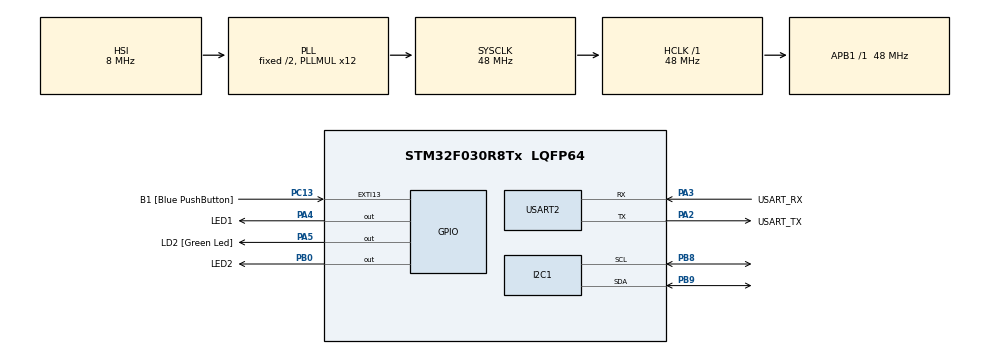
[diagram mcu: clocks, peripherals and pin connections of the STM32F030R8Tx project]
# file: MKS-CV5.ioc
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Dma.Request0=USART2_RX
Dma.USART2_RX.0.Direction=DMA_PERIPH_TO_MEMORY
Dma.USART2_RX.0.Instance=DMA1_Channel5
Dma.USART2_RX.0.MemDataAlignment=DMA_MDATAALIGN_BYTE
Dma.USART2_RX.0.MemInc=DMA_MINC_ENABLE
Dma.USART2_RX.0.Mode=DMA_CIRCULAR
Dma.USART2_RX.0.PeriphDataAlignment=DMA_PDATAALIGN_BYTE
Dma.USART2_RX.0.PeriphInc=DMA_PINC_DISABLE
Dma.USART2_RX.0.Priority=DMA_PRIORITY_LOW
Mcu.Family=STM32F0
Mcu.Name=STM32F030R8Tx
Mcu.Package=LQFP64
NVIC.DMA1_Channel4_5_IRQn=true\:0\:0\:false\:false\:true\:false\:true\:true
PA13.GPIO_Label=TMS
PA13.Mode=Serial_Wire
PA13.Signal=SYS_SWDIO
PA14.GPIO_Label=TCK
PA14.Mode=Serial_Wire
PA14.Signal=SYS_SWCLK
PA2.GPIO_Label=USART_TX
PA2.GPIO_Mode=GPIO_MODE_AF_PP
PA2.GPIO_PuPd=GPIO_NOPULL
PA2.GPIO_Speed=GPIO_SPEED_FREQ_LOW
PA2.Mode=Asynchronous
PA2.Signal=USART2_TX
PA3.GPIO_Label=USART_RX
PA3.GPIO_Mode=GPIO_MODE_AF_PP
PA3.GPIO_PuPd=GPIO_NOPULL
PA3.GPIO_Speed=GPIO_SPEED_FREQ_LOW
PA3.Mode=Asynchronous
PA3.Signal=USART2_RX
PA4.GPIO_Label=LED1
PA4.Signal=GPIO_Output
PA5.GPIO_Label=LD2 [Green Led]
PA5.GPIO_Mode=GPIO_MODE_OUTPUT_PP
PA5.GPIO_PuPd=GPIO_NOPULL
PA5.GPIO_Speed=GPIO_SPEED_FREQ_LOW
PA5.Signal=GPIO_Output
PB0.GPIO_Label=LED2
PB0.Signal=GPIO_Output
PB8.Mode=I2C
PB8.Signal=I2C1_SCL
PB9.Mode=I2C
PB9.Signal=I2C1_SDA
PC13.GPIO_Label=B1 [Blue PushButton]
PC13.GPIO_ModeDefaultEXTI=GPIO_MODE_IT_FALLING
PC13.Signal=GPXTI13
PC14-OSC32_IN.Mode=LSE-External-Oscillator
PC14-OSC32_IN.Signal=RCC_OSC32_IN
PC15-OSC32_OUT.Mode=LSE-External-Oscillator
PC15-OSC32_OUT.Signal=RCC_OSC32_OUT
PF0-OSC_IN.Mode=HSE-External-Clock-Source
PF0-OSC_IN.Signal=RCC_OSC_IN
PF1-OSC_OUT.Signal=RCC_OSC_OUT
ProjectManager.HeapSize=0x200
ProjectManager.StackSize=0x400
ProjectManager.TargetToolchain=STM32CubeIDE
RCC.AHBFreq_Value=48000000
RCC.APB1Freq_Value=48000000
RCC.APB1TimFreq_Value=48000000
RCC.HCLKFreq_Value=48000000
RCC.PLLMUL=RCC_PLL_MUL12
RCC.SYSCLKFreq_VALUE=48000000
RCC.SYSCLKSource=RCC_SYSCLKSOURCE_PLLCLK
USART2.VirtualMode-Asynchronous=VM_ASYNC
board=NUCLEO-F030R8

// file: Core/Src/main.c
/* USER CODE BEGIN Header */
/**
  ******************************************************************************
  * @file           : main.c
  * @brief          : Main program body
  ******************************************************************************
  * @attention
  *
  * Copyright (c) 2023 STMicroelectronics.
  * All rights reserved.
  *
  * This software is licensed under terms that can be found in the LICENSE file
  * in the root directory of this software component.
  * If no LICENSE file comes with this software, it is provided AS-IS.
  *
  ******************************************************************************
  */
/* USER CODE END Header */
#include "main.h"

/* USER CODE BEGIN Includes */
#include <stdio.h>
#include <string.h>
#include <stdlib.h>

/* USER CODE END Includes */

/* USER CODE BEGIN PD */
#define RX_BUFFER_LEN 64
static uint8_t uart_rx_buf[RX_BUFFER_LEN];
static volatile uint16_t uart_rx_read_ptr = 0;
#define uart_rx_write_ptr (RX_BUFFER_LEN - hdma_usart2_rx.Instance->CNDTR)
#define CMD_BUFFER_LEN 256
#define EEPROM_ADDR 0xA0

/* USER CODE END PD */

I2C_HandleTypeDef hi2c1;

UART_HandleTypeDef huart2;
DMA_HandleTypeDef hdma_usart2_rx;

void SystemClock_Config(void);
static void MX_GPIO_Init(void);
static void MX_DMA_Init(void);
static void MX_USART2_UART_Init(void);
static void MX_I2C1_Init(void);

/* USER CODE BEGIN 0 */

void save_eeprom(uint32_t addr, uint8_t value)
{
	addr = addr | 0x0000;
	HAL_I2C_Mem_Write(&hi2c1, EEPROM_ADDR, addr, I2C_MEMADD_SIZE_16BIT, &value, 1, 1000);
	while (HAL_I2C_IsDeviceReady(&hi2c1, EEPROM_ADDR, 300, 1000) == HAL_TIMEOUT)
	{
	}

}

uint32_t read_eeprom(uint32_t addr)
{
	uint8_t value;
	addr = addr | 0x0000;
	HAL_I2C_Mem_Read(&hi2c1, EEPROM_ADDR, addr, I2C_MEMADD_SIZE_16BIT, &value, 1, 1000);
	return value;
}

void uart_process_command(char cmd[])
{
	//printf("prijato: '%s'\n", cmd);
	char *token;
	token = strtok(cmd, " ");
	if (strcasecmp(token, "HELLO") == 0)
	{
		printf("Hello User\n");
	}
	else if (strcasecmp(token, "LED1") == 0)
	{
		token = strtok(NULL, " ");
		if(strcasecmp(token, "ON") == 0)
		{
			//led1 on
			HAL_GPIO_WritePin(LED1_GPIO_Port, LED1_Pin, 1);
			printf("Turning ON LED1\n");
		}
		else if (strcasecmp(token, "OFF") == 0)
		{
			//led1 off
			HAL_GPIO_WritePin(LED1_GPIO_Port, LED1_Pin, 0);
			printf("Turning OFF LED1\n");
		}
		else
		{
			printf("Invalid command\n");
		}
	}
	else if (strcasecmp(token, "LED2") == 0)
	{
		token = strtok(NULL, " ");
		if(strcasecmp(token, "ON") == 0)
		{
			//led1 on
			HAL_GPIO_WritePin(LED2_GPIO_Port, LED2_Pin, 1);
			printf("Turning ON LED2\n");
		}
		else if (strcasecmp(token, "OFF") == 0)
		{
			//led1 off
			HAL_GPIO_WritePin(LED2_GPIO_Port, LED2_Pin, 0);
			printf("Turning OFF LED2\n");
		}
		else
		{
			printf("Invalid command\n");
		}
	}
	else if (strcasecmp(token, "STATUS") == 0)
	{
		uint8_t a = HAL_GPIO_ReadPin(LED1_GPIO_Port, LED1_Pin);
		uint8_t b = HAL_GPIO_ReadPin(LED2_GPIO_Port, LED2_Pin);
		printf("LED1 state is: %d \n", a);
		printf("LED2 state is: %d \n", b);
	}
	else if (strcasecmp(token, "READ") == 0)
	{
		token = strtok(NULL, " ");
		uint32_t bittok = read_eeprom(atoi(token));
		printf("%lu\n", bittok);

	}
	else if (strcasecmp(token, "WRITE") == 0)
	{
		uint32_t adresa = atoi(strtok(NULL, " "));
		uint32_t zprava = atoi(strtok(NULL, " "));
		save_eeprom(adresa, zprava);
		printf("OK\n");
	}
	else if (strcasecmp(token, "DUMP") == 0)
	{
		for(int i = 0; i < 16; i++)
		{
			uint32_t bittok = read_eeprom(i);
			printf("%02x ", bittok);
		}
		printf("\n");
	}
	else
	{
		printf("Invalid command\n");
	}
}

static void uart_byte_available(uint8_t c)
{
	static uint16_t cnt;
	static char data[CMD_BUFFER_LEN];
	if (cnt < CMD_BUFFER_LEN && c >= 32 && c <= 126) data[cnt++] = c;
	if ((c == '\n' || c == '\r') && cnt > 0)
	{
		data[cnt] = '\0';
		uart_process_command(data);
		cnt = 0;
	}
}

int _write(int file, char const *buf, int n)
{
 /* stdout redirection to UART2 */
	HAL_UART_Transmit(&huart2, (uint8_t*)(buf), n, HAL_MAX_DELAY);
	return n;
}

/* USER CODE END 0 */

int main(void)
{

  /* MCU Configuration--------------------------------------------------------*/

  /* Reset of all peripherals, Initializes the Flash interface and the Systick. */
  HAL_Init();

  /* Configure the system clock */
  SystemClock_Config();

  /* Initialize all configured peripherals */
  MX_GPIO_Init();
  MX_DMA_Init();
  MX_USART2_UART_Init();
  MX_I2C1_Init();
  /* USER CODE BEGIN 2 */
  HAL_UART_Receive_DMA(&huart2, uart_rx_buf, RX_BUFFER_LEN);
  /* USER CODE END 2 */

  /* Infinite loop */
  /* USER CODE BEGIN WHILE */
  while (1)
  {
	  //uint8_t c;
	  //HAL_UART_Receive(&huart2, &c, 1, HAL_MAX_DELAY);
	  //HAL_UART_Transmit(&huart2, &c, 1, HAL_MAX_DELAY);
	  while (uart_rx_read_ptr != uart_rx_write_ptr)
	  {
		  uint8_t b = uart_rx_buf[uart_rx_read_ptr];
		  if (++uart_rx_read_ptr >= RX_BUFFER_LEN) uart_rx_read_ptr = 0; // increase read pointer
		  uart_byte_available(b); // process every received byte with the RX state machine
	  }

    /* USER CODE END WHILE */

  }
}

void SystemClock_Config(void)
{
  RCC_OscInitTypeDef RCC_OscInitStruct = {0};
  RCC_ClkInitTypeDef RCC_ClkInitStruct = {0};
  RCC_PeriphCLKInitTypeDef PeriphClkInit = {0};

  /** Initializes the RCC Oscillators according to the specified parameters
  * in the RCC_OscInitTypeDef structure.
  */
  RCC_OscInitStruct.OscillatorType = RCC_OSCILLATORTYPE_HSI;
  RCC_OscInitStruct.HSIState = RCC_HSI_ON;
  RCC_OscInitStruct.HSICalibrationValue = RCC_HSICALIBRATION_DEFAULT;
  RCC_OscInitStruct.PLL.PLLState = RCC_PLL_ON;
  RCC_OscInitStruct.PLL.PLLSource = RCC_PLLSOURCE_HSI;
  RCC_OscInitStruct.PLL.PLLMUL = RCC_PLL_MUL12;
  RCC_OscInitStruct.PLL.PREDIV = RCC_PREDIV_DIV1;
  if (HAL_RCC_OscConfig(&RCC_OscInitStruct) != HAL_OK)
  {
    Error_Handler();
  }

  /** Initializes the CPU, AHB and APB buses clocks
  */
  RCC_ClkInitStruct.ClockType = RCC_CLOCKTYPE_HCLK|RCC_CLOCKTYPE_SYSCLK
                              |RCC_CLOCKTYPE_PCLK1;
  RCC_ClkInitStruct.SYSCLKSource = RCC_SYSCLKSOURCE_PLLCLK;
  RCC_ClkInitStruct.AHBCLKDivider = RCC_SYSCLK_DIV1;
  RCC_ClkInitStruct.APB1CLKDivider = RCC_HCLK_DIV1;

  if (HAL_RCC_ClockConfig(&RCC_ClkInitStruct, FLASH_LATENCY_1) != HAL_OK)
  {
    Error_Handler();
  }
  PeriphClkInit.PeriphClockSelection = RCC_PERIPHCLK_I2C1;
  PeriphClkInit.I2c1ClockSelection = RCC_I2C1CLKSOURCE_HSI;
  if (HAL_RCCEx_PeriphCLKConfig(&PeriphClkInit) != HAL_OK)
  {
    Error_Handler();
  }
}

static void MX_I2C1_Init(void)
{

  hi2c1.Instance = I2C1;
  hi2c1.Init.Timing = 0x2000090E;
  hi2c1.Init.OwnAddress1 = 0;
  hi2c1.Init.AddressingMode = I2C_ADDRESSINGMODE_7BIT;
  hi2c1.Init.DualAddressMode = I2C_DUALADDRESS_DISABLE;
  hi2c1.Init.OwnAddress2 = 0;
  hi2c1.Init.OwnAddress2Masks = I2C_OA2_NOMASK;
  hi2c1.Init.GeneralCallMode = I2C_GENERALCALL_DISABLE;
  hi2c1.Init.NoStretchMode = I2C_NOSTRETCH_DISABLE;
  if (HAL_I2C_Init(&hi2c1) != HAL_OK)
  {
    Error_Handler();
  }

  /** Configure Analogue filter
  */
  if (HAL_I2CEx_ConfigAnalogFilter(&hi2c1, I2C_ANALOGFILTER_ENABLE) != HAL_OK)
  {
    Error_Handler();
  }

  /** Configure Digital filter
  */
  if (HAL_I2CEx_ConfigDigitalFilter(&hi2c1, 0) != HAL_OK)
  {
    Error_Handler();
  }

}

static void MX_USART2_UART_Init(void)
{

  huart2.Instance = USART2;
  huart2.Init.BaudRate = 38400;
  huart2.Init.WordLength = UART_WORDLENGTH_8B;
  huart2.Init.StopBits = UART_STOPBITS_1;
  huart2.Init.Parity = UART_PARITY_NONE;
  huart2.Init.Mode = UART_MODE_TX_RX;
  huart2.Init.HwFlowCtl = UART_HWCONTROL_NONE;
  huart2.Init.OverSampling = UART_OVERSAMPLING_16;
  huart2.Init.OneBitSampling = UART_ONE_BIT_SAMPLE_DISABLE;
  huart2.AdvancedInit.AdvFeatureInit = UART_ADVFEATURE_NO_INIT;
  if (HAL_UART_Init(&huart2) != HAL_OK)
  {
    Error_Handler();
  }

}

static void MX_DMA_Init(void)
{

  /* DMA controller clock enable */
  __HAL_RCC_DMA1_CLK_ENABLE();

  /* DMA interrupt init */
  /* DMA1_Channel4_5_IRQn interrupt configuration */
  HAL_NVIC_SetPriority(DMA1_Channel4_5_IRQn, 0, 0);
  HAL_NVIC_EnableIRQ(DMA1_Channel4_5_IRQn);

}

static void MX_GPIO_Init(void)
{
  GPIO_InitTypeDef GPIO_InitStruct = {0};

  /* GPIO Ports Clock Enable */
  __HAL_RCC_GPIOC_CLK_ENABLE();
  __HAL_RCC_GPIOF_CLK_ENABLE();
  __HAL_RCC_GPIOA_CLK_ENABLE();
  __HAL_RCC_GPIOB_CLK_ENABLE();

  /*Configure GPIO pin Output Level */
  HAL_GPIO_WritePin(GPIOA, LED1_Pin|LD2_Pin, GPIO_PIN_RESET);

  /*Configure GPIO pin Output Level */
  HAL_GPIO_WritePin(LED2_GPIO_Port, LED2_Pin, GPIO_PIN_RESET);

  /*Configure GPIO pin : B1_Pin */
  GPIO_InitStruct.Pin = B1_Pin;
  GPIO_InitStruct.Mode = GPIO_MODE_IT_FALLING;
  GPIO_InitStruct.Pull = GPIO_NOPULL;
  HAL_GPIO_Init(B1_GPIO_Port, &GPIO_InitStruct);

  /*Configure GPIO pins : LED1_Pin LD2_Pin */
  GPIO_InitStruct.Pin = LED1_Pin|LD2_Pin;
  GPIO_InitStruct.Mode = GPIO_MODE_OUTPUT_PP;
  GPIO_InitStruct.Pull = GPIO_NOPULL;
  GPIO_InitStruct.Speed = GPIO_SPEED_FREQ_LOW;
  HAL_GPIO_Init(GPIOA, &GPIO_InitStruct);

  /*Configure GPIO pin : LED2_Pin */
  GPIO_InitStruct.Pin = LED2_Pin;
  GPIO_InitStruct.Mode = GPIO_MODE_OUTPUT_PP;
  GPIO_InitStruct.Pull = GPIO_NOPULL;
  GPIO_InitStruct.Speed = GPIO_SPEED_FREQ_LOW;
  HAL_GPIO_Init(LED2_GPIO_Port, &GPIO_InitStruct);

}

void Error_Handler(void)
{
  __disable_irq();
  while (1)
  {
  }
}
